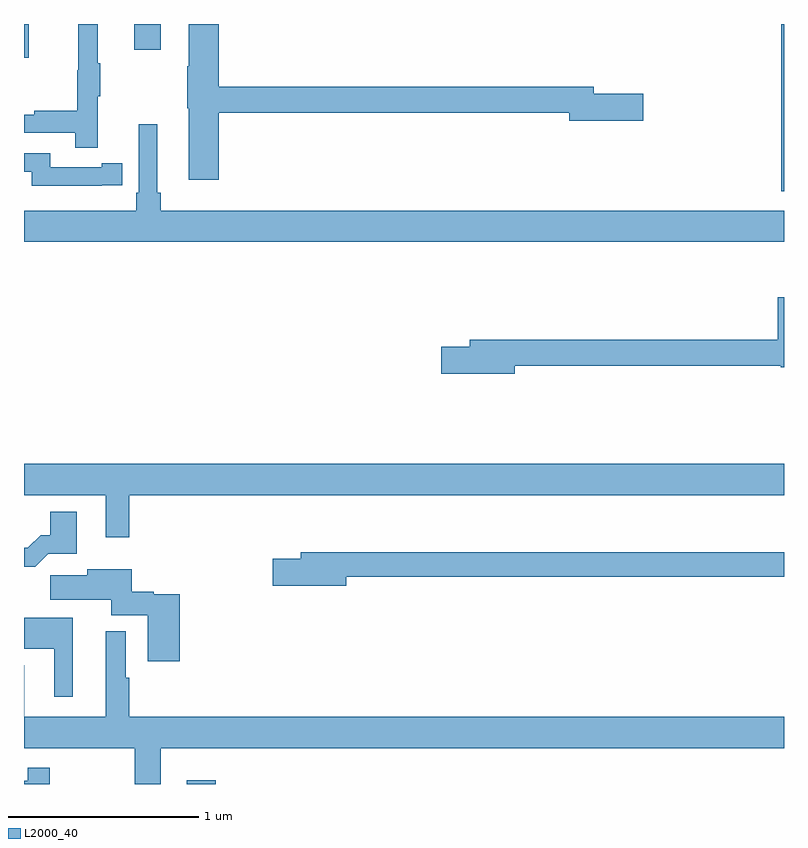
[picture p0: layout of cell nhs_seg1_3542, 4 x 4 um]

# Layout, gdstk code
import gdstk
lib = gdstk.Library(unit=1e-6, precision=1e-09)
def R(c, l, rs):  # rectangles x0, y0, x1, y1
    for r in rs: c.add(gdstk.rectangle(r[:2], r[2:], *l))
def P(c, l, *ps):  # polygons
    for p in ps: c.add(gdstk.Polygon(p, *l))
L2000_40 = (2000, 40)

nhs_seg1_3542 = lib.new_cell('nhs_seg1_3542')
R(nhs_seg1_3542, L2000_40, [(303.857,562.199,304.01,562.219), (306.986,565.32,307,566.199), (303,566.022,303.025,566.199), (303.581,566.064,303.721,566.199)])
P(nhs_seg1_3542, L2000_40, [(304.025,565.732),(305.87,565.732),(305.87,565.69),(306.259,565.69),(306.259,565.832),(305.998,565.832),(305.998,565.868),(304.025,565.868),(304.025,566.199),(303.866,566.199),(303.866,565.976),(303.859,565.976),(303.859,565.755),(303.866,565.755),(303.866,565.38),(304.025,565.38)],
  [(303.389,565.819),(303.4,565.819),(303.4,565.993),(303.389,565.993),(303.389,566.199),(303.286,566.199),(303.286,565.956),(303.279,565.956),(303.279,565.742),(303.055,565.742),(303.055,565.722),(303,565.722),(303,565.626),(303.271,565.626),(303.271,565.548),(303.389,565.548)],
  [(307,565.216),(303.719,565.216),(303.719,565.312),(303.7,565.312),(303.7,565.672),(303.603,565.672),(303.603,565.312),(303.59,565.312),(303.59,565.216),(303,565.216),(303,565.052),(307,565.052)],
  [(303.41,565.35),(303.518,565.35),(303.518,565.466),(303.41,565.466),(303.41,565.446),(303.138,565.446),(303.138,565.518),(303,565.518),(303,565.422),(303.042,565.422),(303.042,565.349),(303.41,565.349)],
  [(305.584,564.4),(306.984,564.4),(306.984,564.392),(307,564.392),(307,564.76),(306.968,564.76),(306.968,564.536),(305.345,564.536),(305.345,564.5),(305.196,564.5),(305.196,564.358),(305.584,564.358)],
  [(303.553,563.72),(307,563.72),(307,563.884),(303,563.884),(303,563.72),(303.431,563.72),(303.431,563.499),(303.553,563.499)],
  [(303.128,563.411),(303.277,563.411),(303.277,563.632),(303.137,563.632),(303.137,563.509),(303.088,563.509),(303.021,563.442),(303,563.442),(303,563.342),(303.059,563.342)],
  [(304.696,563.29),(307,563.29),(307,563.419),(304.457,563.419),(304.457,563.385),(304.308,563.385),(304.308,563.243),(304.696,563.243)],
  [(303.821,563.197),(303.684,563.197),(303.684,563.21),(303.568,563.21),(303.568,563.329),(303.332,563.329),(303.332,563.297),(303.138,563.297),(303.138,563.168),(303.458,563.168),(303.458,563.087),(303.65,563.087),(303.65,562.845),(303.821,562.845)],
  [(303.256,563.074),(303,563.074),(303,562.91),(303.158,562.91),(303.158,562.659),(303.256,562.659)],
  [(303.721,562.388),(307,562.388),(307,562.552),(303.553,562.552),(303.553,562.757),(303.535,562.757),(303.535,563.002),(303.431,563.002),(303.431,562.552),(303.001,562.552),(303.001,562.825),(303,562.825),(303,562.388),(303.582,562.388),(303.582,562.199),(303.721,562.199)],
  [(303.135,562.285),(303.019,562.285),(303.019,562.216),(303,562.216),(303,562.199),(303.135,562.199)])

lib.write_gds('nhs_seg1_3542.gds')
